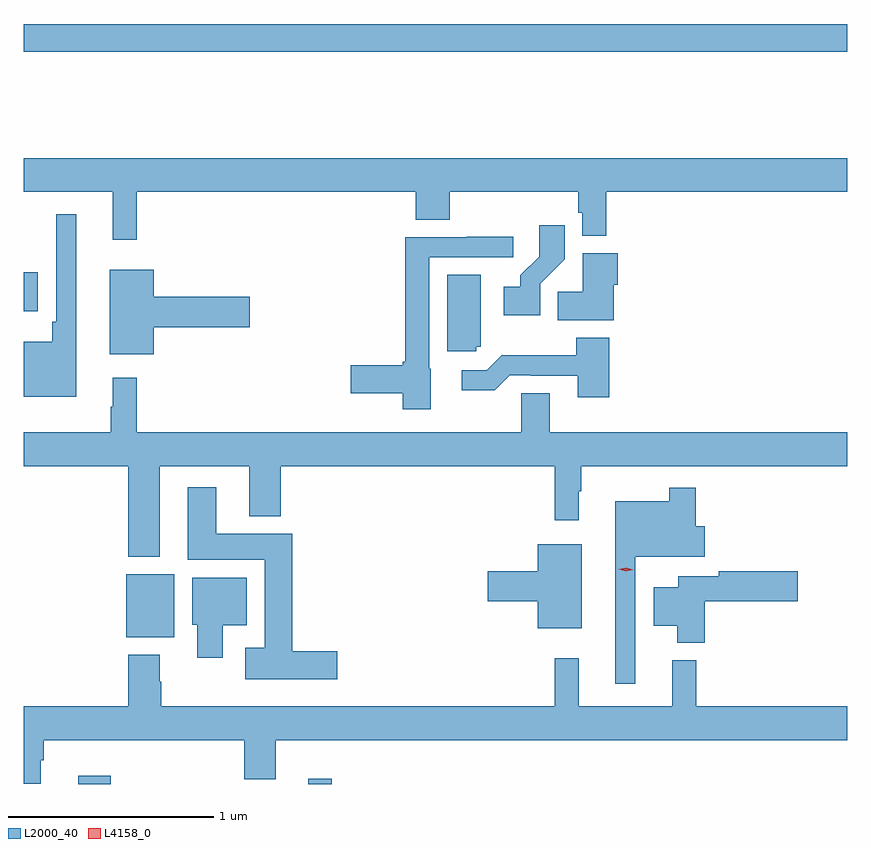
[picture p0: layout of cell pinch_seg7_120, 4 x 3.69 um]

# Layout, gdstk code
import gdstk
lib = gdstk.Library(unit=1e-6, precision=1e-09)
def R(c, l, rs):  # rectangles x0, y0, x1, y1
    for r in rs: c.add(gdstk.rectangle(r[:2], r[2:], *l))
def P(c, l, *ps):  # polygons
    for p in ps: c.add(gdstk.Polygon(p, *l))
L2000_40 = (2000, 40)
L4158_0 = (4158, 0)

pinch_seg7_120 = lib.new_cell('pinch_seg7_120')
R(pinch_seg7_120, L2000_40, [(915.482,1003.067,915.64,1003.108), (916.599,1003.067,916.715,1003.093), (915.716,1003.781,915.949,1004.086), (915.218,1005.365,915.286,1005.553), (915.218,1006.624,919.218,1006.76)])
P(pinch_seg7_120, L2000_40, [(915.767,1005.944),(917.123,1005.944),(917.123,1005.808),(917.288,1005.808),(917.288,1005.944),(917.911,1005.944),(917.911,1005.843),(917.931,1005.843),(917.931,1005.731),(918.047,1005.731),(918.047,1005.944),(919.218,1005.944),(919.218,1006.108),(915.218,1006.108),(915.218,1005.944),(915.65,1005.944),(915.65,1005.711),(915.767,1005.711)],
  [(915.472,1005.835),(915.375,1005.835),(915.375,1005.313),(915.355,1005.313),(915.355,1005.217),(915.218,1005.217),(915.218,1004.948),(915.472,1004.948)],
  [(917.727,1005.499),(917.846,1005.618),(917.846,1005.781),(917.721,1005.781),(917.721,1005.629),(917.63,1005.539),(917.63,1005.484),(917.55,1005.484),(917.55,1005.344),(917.727,1005.344)],
  [(917.194,1005.084),(917.187,1005.084),(917.187,1005.627),(917.596,1005.627),(917.596,1005.726),(917.371,1005.726),(917.371,1005.723),(917.071,1005.723),(917.071,1005.119),(917.058,1005.119),(917.058,1005.101),(916.806,1005.101),(916.806,1004.966),(917.058,1004.966),(917.058,1004.888),(917.194,1004.888)],
  [(918.083,1005.494),(918.103,1005.494),(918.103,1005.646),(917.933,1005.646),(917.933,1005.458),(917.812,1005.458),(917.812,1005.32),(918.083,1005.32)],
  [(915.85,1005.287),(916.315,1005.287),(916.315,1005.434),(915.85,1005.434),(915.85,1005.565),(915.635,1005.565),(915.635,1005.155),(915.85,1005.155)],
  [(917.415,1005.192),(917.437,1005.192),(917.437,1005.541),(917.276,1005.541),(917.276,1005.171),(917.415,1005.171)],
  [(918.062,1005.235),(917.902,1005.235),(917.902,1005.151),(917.539,1005.151),(917.466,1005.078),(917.346,1005.078),(917.346,1004.981),(917.507,1004.981),(917.58,1005.054),(917.68,1005.054),(917.68,1005.051),(917.909,1005.051),(917.909,1004.946),(918.062,1004.946)],
  [(915.877,1004.612),(916.313,1004.612),(916.313,1004.369),(916.466,1004.369),(916.466,1004.612),(917.797,1004.612),(917.797,1004.349),(917.914,1004.349),(917.914,1004.489),(917.926,1004.489),(917.926,1004.612),(919.218,1004.612),(919.218,1004.776),(917.773,1004.776),(917.773,1004.966),(917.634,1004.966),(917.634,1004.776),(915.767,1004.776),(915.767,1005.04),(915.65,1005.04),(915.65,1004.9),(915.639,1004.9),(915.639,1004.776),(915.218,1004.776),(915.218,1004.612),(915.725,1004.612),(915.725,1004.171),(915.877,1004.171)],
  [(916.741,1003.712),(916.523,1003.712),(916.523,1004.284),(916.153,1004.284),(916.153,1004.509),(916.013,1004.509),(916.013,1004.156),(916.388,1004.156),(916.388,1003.729),(916.293,1003.729),(916.293,1003.577),(916.741,1003.577)],
  [(918.189,1004.171),(918.526,1004.171),(918.526,1004.319),(918.482,1004.319),(918.482,1004.506),(918.354,1004.506),(918.354,1004.44),(918.092,1004.44),(918.092,1003.554),(918.189,1003.554)],
  [(917.929,1004.233),(917.714,1004.233),(917.714,1004.102),(917.472,1004.102),(917.472,1003.955),(917.714,1003.955),(917.714,1003.823),(917.929,1003.823)],
  [(918.527,1003.955),(918.979,1003.955),(918.979,1004.102),(918.594,1004.102),(918.594,1004.077),(918.398,1004.077),(918.398,1004.023),(918.278,1004.023),(918.278,1003.835),(918.392,1003.835),(918.392,1003.754),(918.527,1003.754)],
  [(916.183,1003.838),(916.3,1003.838),(916.3,1004.068),(916.037,1004.068),(916.037,1003.842),(916.061,1003.842),(916.061,1003.68),(916.183,1003.68)],
  [(915.301,1003.182),(915.314,1003.182),(915.314,1003.28),(916.289,1003.28),(916.289,1003.091),(916.441,1003.091),(916.441,1003.28),(919.218,1003.28),(919.218,1003.444),(918.485,1003.444),(918.485,1003.669),(918.368,1003.669),(918.368,1003.444),(917.915,1003.444),(917.915,1003.678),(917.797,1003.678),(917.797,1003.444),(915.885,1003.444),(915.885,1003.565),(915.877,1003.565),(915.877,1003.696),(915.725,1003.696),(915.725,1003.444),(915.218,1003.444),(915.218,1003.068),(915.301,1003.068)])
P(pinch_seg7_120, L4158_0, [(918.143,1004.1),(918.108,1004.111),(918.108,1004.111),(918.108,1004.111),(918.144,1004.119),(918.179,1004.108),(918.179,1004.108),(918.179,1004.108)])

lib.write_gds('pinch_seg7_120.gds')
